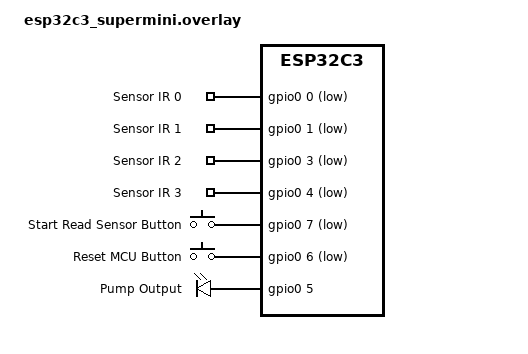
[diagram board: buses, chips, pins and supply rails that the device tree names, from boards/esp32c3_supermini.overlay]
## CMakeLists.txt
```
cmake_minimum_required(VERSION 3.20.0)
find_package(Zephyr REQUIRED HINTS $ENV{ZEPHYR_BASE})
project(aquasort)

target_sources(app PRIVATE
    src/main.cpp
    src/components/sensor_service/digital_sensor_component.cpp
    src/components/sensor_service/pass_counter_component.cpp
    src/components/wifi_service/wifi_service.cpp
    src/components/wifi_service/internet_ugm.cpp
    src/components/supabase_service/supabase_service.cpp
    src/components/ota_service/ota_service.cpp
)

# Add subdirectories as include paths if you use relative header paths
target_include_directories(app PRIVATE
    src/
    src/components
    src/services
    src/contexts
)

zephyr_linker_sources(SECTIONS src/components/ota_service/sections-rom.ld)
zephyr_linker_section(
    NAME http_resource_desc_ota_http_service
    KVMA RAM_REGION GROUP RODATA_REGION
)
```

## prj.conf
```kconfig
CONFIG_CPP=y
CONFIG_REQUIRES_FULL_LIBCPP=y
CONFIG_STD_CPP17=y
CONFIG_REBOOT=y

# Production Config
CONFIG_SIZE_OPTIMIZATIONS=y

# Networking & IPv4 DHCP
CONFIG_NETWORKING=y
CONFIG_NET_IPV4=y
CONFIG_NET_DHCPV4=y
CONFIG_NET_TCP=y
CONFIG_NET_SOCKETS=y
CONFIG_DNS_RESOLVER=y
CONFIG_NET_UDP=y

# Network device hostname
CONFIG_NET_HOSTNAME_ENABLE=y
CONFIG_NET_HOSTNAME_DYNAMIC=y
CONFIG_NET_HOSTNAME="aquasort_device"

# Advertise aquasort_device.local over mDNS
CONFIG_MDNS_RESPONDER=y
CONFIG_DNS_SD=y
CONFIG_MDNS_RESPONDER_DNS_SD=y

# Socket budget: the net sockets-service thread polls DNS resolver + mDNS sockets
# in one array of CONFIG_ZVFS_POLL_MAX entries (default 3 is too small once mDNS
# is on -> sockets never drained -> RX buffers exhausted -> DNS fails with -11).
CONFIG_ZVFS_POLL_MAX=10
CONFIG_NET_MAX_CONTEXTS=12
CONFIG_NET_MAX_CONN=12

# HTTP OTA endpoint
CONFIG_HTTP_PARSER=y
CONFIG_HTTP_SERVER=y
CONFIG_HTTP_SERVER_MAX_CLIENTS=2
CONFIG_HTTP_SERVER_CLIENT_BUFFER_SIZE=4096
CONFIG_HTTP_SERVER_MAX_URL_LENGTH=64
CONFIG_HTTP_SERVER_MAX_HEADER_LEN=512

# MCUboot image staging
CONFIG_FLASH=y
CONFIG_FLASH_MAP=y
CONFIG_STREAM_FLASH=y
CONFIG_IMG_MANAGER=y
CONFIG_REBOOT=y
CONFIG_BOOTLOADER_MCUBOOT=y

# TLS (HTTPS to Supabase / Cloudflare)
CONFIG_NET_SOCKETS_SOCKOPT_TLS=y
CONFIG_MBEDTLS_SSL_PROTO_TLS1_2=y
CONFIG_MBEDTLS_SSL_SERVER_NAME_INDICATION=y
CONFIG_MBEDTLS_CIPHERSUITE_TLS_ECDHE_RSA_WITH_AES_128_GCM_SHA256=y
CONFIG_MBEDTLS_CIPHERSUITE_TLS_ECDHE_ECDSA_WITH_AES_128_GCM_SHA256=y
# sso.ugm.ac.id (UGM-Hotspot login) offers no GCM suites, only CBC:
# ECDHE-RSA-AES128-SHA256 / ECDHE-RSA-AES256-SHA384. Without this the handshake aborts (errno 113).
CONFIG_MBEDTLS_CIPHERSUITE_TLS_ECDHE_RSA_WITH_AES_128_CBC_SHA256=y
CONFIG_PSA_WANT_ALG_ECDSA=y
# Supabase's ECDSA chain: WE1 is signed ecdsa-with-SHA384, GTS Root R4 has a P-384 key.
# mbedTLS parses the chain even with peer verify off, so both are required.
CONFIG_PSA_WANT_ALG_SHA_384=y
CONFIG_PSA_WANT_ECC_SECP_R1_384=y
# Default 1500 B is too small: the server's certificate chain record is several KB
# and Cloudflare ignores max_fragment_length, so the handshake aborts (errno 113).
CONFIG_MBEDTLS_SSL_IN_CONTENT_LEN=16384
CONFIG_MBEDTLS_SSL_OUT_CONTENT_LEN=2048

# ESP32 Wi-Fi Driver
CONFIG_WIFI=y
CONFIG_WIFI_ESP32=y
CONFIG_NET_L2_ETHERNET=y
# Off: the driver retries the last SSID forever (even on "AP not found") and
# rejects every new connect with -EALREADY, which breaks the UGM -> basic fallback.
# beginInternet() handles retries and reconnects itself.
CONFIG_ESP32_WIFI_STA_RECONNECT=n

# Required by Espressif Wi-Fi HAL & Net Stack
CONFIG_HEAP_MEM_POOL_SIZE=55576
CONFIG_SYSTEM_WORKQUEUE_STACK_SIZE=4096
# TLS handshake runs in the main thread and needs a deep stack
CONFIG_MAIN_STACK_SIZE=8192

CONFIG_NET_MGMT=y
CONFIG_NET_MGMT_EVENT=y
CONFIG_NET_MGMT_EVENT_INFO=y
CONFIG_NET_MGMT_EVENT_STACK_SIZE=4096

# Debug Config (uncomment while debugging)
# CONFIG_NO_OPTIMIZATIONS=y
# CONFIG_DEBUG_THREAD_INFO=y
# CONFIG_EXCEPTION_DEBUG=y
# CONFIG_EXCEPTION_STACK_TRACE=y
# CONFIG_STACK_SENTINEL=y
# CONFIG_LOG=y
# CONFIG_DNS_RESOLVER_LOG_LEVEL_DBG=y
# CONFIG_LOG_MODE_IMMEDIATE=y
# CONFIG_NET_LOG=y
# CONFIG_NET_SOCKETS_LOG_LEVEL_ERR=y
# CONFIG_MBEDTLS_DEBUG=y
# CONFIG_MBEDTLS_LOG_LEVEL_ERR=y
```

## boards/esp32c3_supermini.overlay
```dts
/ {
    sensors {
        compatible = "gpio-keys";
        
        ir_0: ir_0 {
            gpios = <&gpio0 0   (GPIO_PULL_UP | GPIO_ACTIVE_LOW)>;
            label = "Sensor IR 0";
        }; 
        ir_1: ir_1 {
            gpios = <&gpio0 1   (GPIO_PULL_UP | GPIO_ACTIVE_LOW)>;
            label = "Sensor IR 1";
        }; 
        ir_2: ir_2 {
            gpios = <&gpio0 3   (GPIO_PULL_UP | GPIO_ACTIVE_LOW)>;
            label = "Sensor IR 2";
        }; 
        ir_3: ir_3 {
            gpios = <&gpio0 4   (GPIO_PULL_UP | GPIO_ACTIVE_LOW)>;
            label = "Sensor IR 3";
        }; 
    };

    buttons {
        compatible = "gpio-keys";
        
        start_button: start_button {
            gpios = <&gpio0 7  GPIO_ACTIVE_LOW>;
            label = "Start Read Sensor Button";
        };
        reset_button: reset_button {
            gpios = <&gpio0 6  GPIO_ACTIVE_LOW>;
            label = "Reset MCU Button";
        };
    };

    pumps {
        compatible = "gpio-leds";
        
        pump_0: pump_0 {
            gpios = <&gpio0 5 GPIO_ACTIVE_HIGH>;
            label = "Pump Output";
        };
    }; 
};
```

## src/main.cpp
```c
#include "components/ota_service/ota_service.h"
#include "services/main_application.h"
#include "task_sensor_context.h"
#include <cerrno>
#include <zephyr/sys/reboot.h>

int main()
{
    TaskSensorContext sensorCtx;
    TaskWiFiContext inetCtx;

    bool connected = MainApplication::beginInternet(&inetCtx);
    if (!connected)
        sys_reboot(SYS_REBOOT_COLD); // Assume it's Hang

    OTAService otaService;
    if (otaService.start(8080) == 0)
        OTAService::confirmImage();

    static uint16_t intCounter[4]{};
    std::function<void()> cbs[4] = {
        []() { intCounter[0]++; },
        []() { intCounter[1]++; },
        []() { intCounter[2]++; },
        []() { intCounter[3]++; },
    };

    MainApplication::initSensors(&sensorCtx, cbs);
    MainApplication::initButtons(&sensorCtx);
    for (uint8_t i = 0; i < 4; i++)
        sensorCtx.sensors[i].disableInterrupt();
    if (sensorCtx.pump.beginOutput() != 0)
        printk("Pump GPIO init failed\n");
    sensorCtx.pump.set(false);

    bool isInterruptEnabled = false;
    bool prevPressed = false;
    uint64_t lastPressMs = 0;
    const uint64_t buttonDebounceMs = 50;

    while (1)
    {
        const bool pressed = MainApplication::readButtons(&sensorCtx)[0];

        if (pressed && !prevPressed && k_uptime_get() - lastPressMs >= buttonDebounceMs)
        {
            lastPressMs = k_uptime_get();
            isInterruptEnabled = !isInterruptEnabled;
            printk("Button Sampling Pressed: %s\n", isInterruptEnabled ? "start" : "stop");

            if (isInterruptEnabled)
                for (uint8_t i = 0; i < 4; i++)
                {
                    sensorCtx.pump.set(true);
                    sensorCtx.sensors[i].enableInterrupt();
                }
            else
            {
                for (uint8_t i = 0; i < 4; i++)
                {
                    sensorCtx.pump.set(false);
                    sensorCtx.sensors[i].disableInterrupt();
                }
                int16_t res = MainApplication::pushDataToSupabase(&inetCtx, intCounter);
                printk("Supabase push result: %d\n", res);
                if (res == -ENOTCONN)
                {
                    printk("WiFi is not connected\n");
                    sys_reboot(SYS_REBOOT_COLD); // Assume it's Hang
                }
                memset(intCounter, 0, sizeof(intCounter));
            }
        }
        prevPressed = pressed;

        k_msleep(10);
    }
}
```
